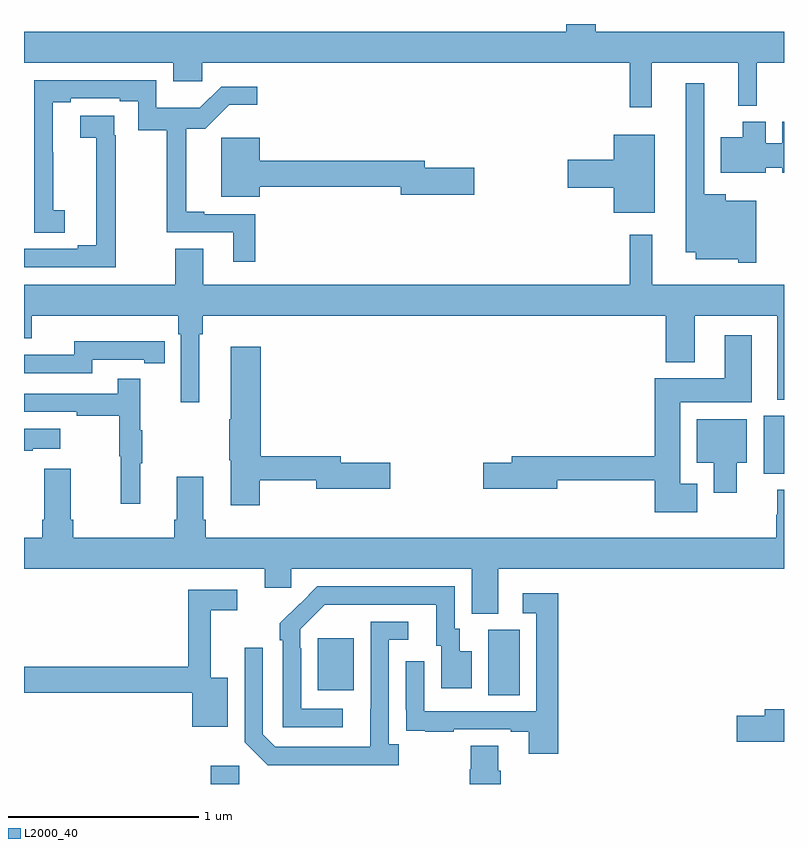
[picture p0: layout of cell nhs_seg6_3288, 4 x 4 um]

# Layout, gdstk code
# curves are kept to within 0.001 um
import gdstk
lib = gdstk.Library(unit=1e-6, precision=1e-09)
def R(c, l, rs):  # rectangles x0, y0, x1, y1
    for r in rs: c.add(gdstk.rectangle(r[:2], r[2:], *l))
def P(c, l, *ps):  # polygons
    for p in ps: c.add(gdstk.Polygon(p, *l))
L2000_40 = (2000, 40)

nhs_seg6_3288 = lib.new_cell('nhs_seg6_3288')
R(nhs_seg6_3288, L2000_40, [(303.983,983.5,304.134,983.596), (305.444,983.968,305.608,984.312), (304.547,983.993,304.735,984.268), (306.893,985.133,307,985.438)])
P(nhs_seg6_3288, L2000_40, [(306.305,987.296),(306.758,987.296),(306.758,987.071),(306.857,987.071),(306.857,987.296),(307,987.296),(307,987.46),(306.008,987.46),(306.008,987.5),(305.855,987.5),(305.855,987.46),(303,987.46),(303,987.296),(303.785,987.296),(303.785,987.198),(303.937,987.198),(303.937,987.296),(306.187,987.296),(306.187,987.063),(306.305,987.063)],
  [(304.217,986.499),(303.949,986.499),(303.949,986.512),(303.854,986.512),(303.854,986.949),(303.953,986.949),(304.079,987.074),(304.228,987.074),(304.228,987.171),(304.038,987.171),(303.925,987.058),(303.696,987.058),(303.696,987.204),(303.054,987.204),(303.054,986.401),(303.214,986.401),(303.214,986.521),(303.153,986.521),(303.153,986.825),(303.151,986.825),(303.151,987.088),(303.247,987.088),(303.247,987.108),(303.503,987.108),(303.503,987.094),(303.6,987.094),(303.6,986.941),(303.751,986.941),(303.751,986.403),(304.1,986.403),(304.1,986.25),(304.217,986.25)],
  [(306.853,986.569),(306.694,986.569),(306.694,986.605),(306.579,986.605),(306.579,987.187),(306.482,987.187),(306.482,986.3),(306.536,986.3),(306.536,986.261),(306.759,986.261),(306.759,986.243),(306.853,986.243)],
  [(303.482,986.915),(303.476,986.915),(303.476,987.017),(303.297,987.017),(303.297,986.902),(303.379,986.902),(303.379,986.619),(303.38,986.619),(303.38,986.336),(303.284,986.336),(303.284,986.316),(303,986.316),(303,986.22),(303.482,986.22)],
  [(306.904,986.743),(306.992,986.743),(306.992,986.717),(307,986.717),(307,986.986),(306.992,986.986),(306.992,986.872),(306.904,986.872),(306.904,986.986),(306.782,986.986),(306.782,986.905),(306.668,986.905),(306.668,986.717),(306.904,986.717)],
  [(306.319,986.917),(306.104,986.917),(306.104,986.786),(305.862,986.786),(305.862,986.639),(306.104,986.639),(306.104,986.507),(306.319,986.507)],
  [(304.24,986.644),(304.982,986.644),(304.982,986.602),(305.371,986.602),(305.371,986.744),(305.11,986.744),(305.11,986.78),(304.24,986.78),(304.24,986.901),(304.037,986.901),(304.037,986.591),(304.24,986.591)],
  [(303.922,985.868),(303.941,985.868),(303.941,985.964),(306.377,985.964),(306.377,985.721),(306.529,985.721),(306.529,985.964),(306.965,985.964),(306.965,985.523),(307,985.523),(307,986.128),(306.306,986.128),(306.306,986.392),(306.187,986.392),(306.187,986.128),(303.943,986.128),(303.943,986.318),(303.796,986.318),(303.796,986.128),(303,986.128),(303,985.847),(303.04,985.847),(303.04,985.964),(303.812,985.964),(303.812,985.868),(303.825,985.868),(303.825,985.509),(303.922,985.509)],
  [(306.544,985.081),(306.454,985.081),(306.454,985.508),(306.829,985.508),(306.829,985.861),(306.689,985.861),(306.689,985.636),(306.32,985.636),(306.32,985.226),(305.567,985.226),(305.567,985.19),(305.418,985.19),(305.418,985.055),(305.806,985.055),(305.806,985.098),(306.32,985.098),(306.32,984.929),(306.544,984.929)],
  [(303.36,985.734),(303.632,985.734),(303.632,985.714),(303.74,985.714),(303.74,985.83),(303.632,985.83),(303.632,985.831),(303.264,985.831),(303.264,985.758),(303,985.758),(303,985.662),(303.36,985.662)],
  [(304.242,985.098),(304.538,985.098),(304.538,985.055),(304.927,985.055),(304.927,985.19),(304.666,985.19),(304.666,985.226),(304.247,985.226),(304.247,985.801),(304.088,985.801),(304.088,985.421),(304.081,985.421),(304.081,985.203),(304.088,985.203),(304.088,984.966),(304.242,984.966)],
  [(303.611,985.187),(303.622,985.187),(303.622,985.361),(303.611,985.361),(303.611,985.633),(303.493,985.633),(303.493,985.554),(303,985.554),(303,985.458),(303.277,985.458),(303.277,985.438),(303.501,985.438),(303.501,985.224),(303.508,985.224),(303.508,984.975),(303.611,984.975)],
  [(306.751,985.19),(306.805,985.19),(306.805,985.42),(306.542,985.42),(306.542,985.19),(306.629,985.19),(306.629,985.032),(306.751,985.032)],
  [(303.047,985.265),(303.19,985.265),(303.19,985.369),(303,985.369),(303,985.255),(303.047,985.255)],
  [(305.497,984.632),(307,984.632),(307,985.048),(306.965,985.048),(306.965,984.917),(306.958,984.917),(306.958,984.796),(303.956,984.796),(303.956,984.892),(303.943,984.892),(303.943,985.117),(303.803,985.117),(303.803,984.892),(303.791,984.892),(303.791,984.796),(303.26,984.796),(303.26,984.892),(303.247,984.892),(303.247,985.159),(303.107,985.159),(303.107,984.892),(303.095,984.892),(303.095,984.796),(303,984.796),(303,984.632),(304.268,984.632),(304.268,984.534),(304.407,984.534),(304.407,984.632),(305.357,984.632),(305.357,984.397),(305.497,984.397)],
  [(304.678,983.895),(304.458,983.895),(304.458,984.215),(304.455,984.215),(304.455,984.315),(304.584,984.444),(305.171,984.444),(305.171,984.228),(305.195,984.228),(305.195,984.003),(305.356,984.003),(305.356,984.199),(305.293,984.199),(305.293,984.318),(305.268,984.318),(305.268,984.54),(304.544,984.54),(304.347,984.345),(304.347,984.257),(304.362,984.257),(304.362,983.799),(304.678,983.799)],
  [(304.072,984.058),(303.983,984.058),(303.983,984.414),(304.123,984.414),(304.123,984.522),(303.865,984.522),(303.865,984.116),(303,984.116),(303,983.98),(303.885,983.98),(303.885,983.801),(304.072,983.801)],
  [(305.813,984.505),(305.625,984.505),(305.625,984.399),(305.697,984.399),(305.697,983.883),(305.106,983.883),(305.106,984.145),(305.01,984.145),(305.01,983.89),(305.011,983.89),(305.011,983.781),(305.113,983.781),(305.113,983.775),(305.261,983.775),(305.261,983.787),(305.561,983.787),(305.561,983.775),(305.657,983.775),(305.657,983.658),(305.813,983.658)],
  [(304.972,983.71),(304.92,983.71),(304.92,984.258),(305.023,984.258),(305.023,984.354),(304.824,984.354),(304.823,983.697),(304.323,983.697),(304.257,983.763),(304.257,984.217),(304.161,984.217),(304.161,983.721),(304.282,983.6),(304.972,983.6)],
  [(307,983.894),(306.899,983.894),(306.899,983.858),(306.75,983.858),(306.75,983.723),(307,983.723)],
  [(305.51,983.57),(305.497,983.57),(305.497,983.702),(305.35,983.702),(305.35,983.577),(305.345,983.577),(305.345,983.5),(305.51,983.5)])

lib.write_gds('nhs_seg6_3288.gds')
